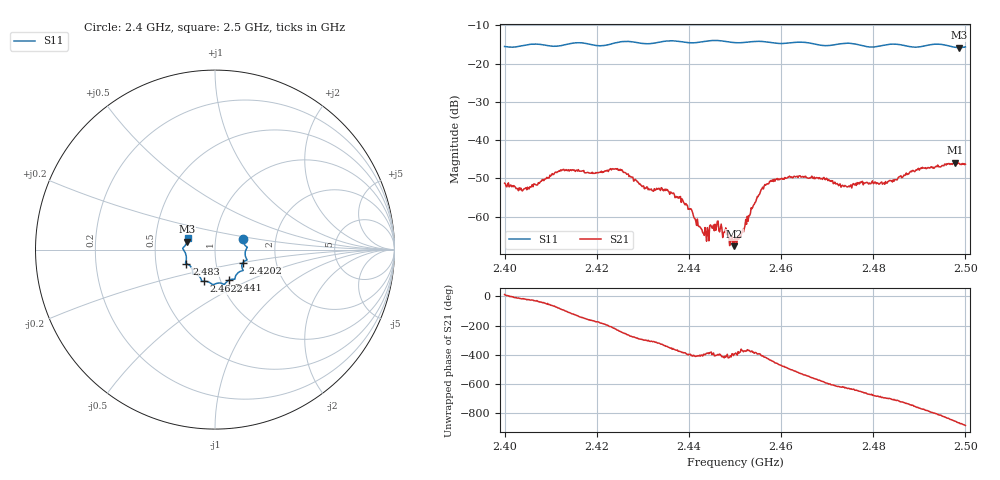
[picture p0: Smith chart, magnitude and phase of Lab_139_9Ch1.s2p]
# Hz S RI R 50
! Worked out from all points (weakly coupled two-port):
!   601 points, 2.4 GHz to 2.5 GHz, reference 50 ohm
!   highest |S21| = -45.91 dB at 2.4978 GHz (marker M1); lowest = -67.7 dB at 2.4498 GHz (marker M2)
!   lowest |S11| = -15.8 dB at 2.4987 GHz (marker M3), VSWR 1.39, Z = 36.4 + j3.28 ohm
!   |S11| at or under -10 dB: start of sweep to end of sweep
!   S12 and S22 are empty: the file has one direction only
!   S11 on the Smith chart (normalised r, x): 2.4 GHz: 1.36, +0.17; 2.4202 GHz: 1.35, -0.20; 2.441 GHz: 1.09, -0.39; 2.4622 GHz: 0.83, -0.30; 2.483 GHz: 0.72, -0.12; 2.5 GHz: 0.73, +0.09
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2.4e9  0.1564 0.0601  0.00269 0.000572  0 0  0 0
2.404333e9  0.1732 0.0181  0.00222 -0.000713  0 0  0 0
2.412333e9  0.169 -0.0342  9.19e-05 -0.004  0 0  0 0
2.416667e9  0.1776 -0.0585  -0.00321 -0.00225  0 0  0 0
2.420167e9  0.1561 -0.072  -0.00376 -0.000362  0 0  0 0
2.425e9  0.1557 -0.113  -0.00206 0.00346  0 0  0 0
2.433333e9  0.1129 -0.1522  0.00176 0.00149  0 0  0 0
2.438167e9  0.1024 -0.1648  0.00175 -0.000551  0 0  0 0
2.441e9  0.0768 -0.1707  0.000752 -0.000685  0 0  0 0
2.443333e9  0.0596 -0.1854  0.000463 -0.000334  0 0  0 0
2.4465e9  0.0504 -0.1934  0.000495 -0.000433  0 0  0 0
2.449833e9  0.0285 -0.1862  0.000344 -0.000227  0 0  0 0
2.45e9  0.0267 -0.1861  0.00046 -0.000287  0 0  0 0
2.456167e9  -0.0144 -0.1936  0.00145 -0.00179  0 0  0 0
2.462167e9  -0.0631 -0.1763  -0.00254 -0.00204  0 0  0 0
2.466667e9  -0.0765 -0.1668  -0.00326 0.000939  0 0  0 0
2.474e9  -0.1246 -0.1364  -0.000324 0.0025  0 0  0 0
2.483e9  -0.159 -0.078  0.00252 0.00108  0 0  0 0
2.483333e9  -0.1607 -0.0774  0.00269 0.00106  0 0  0 0
2.497833e9  -0.1601 0.0332  -0.00347 -0.00369  0 0  0 0
2.498667e9  -0.1558 0.0439  -0.004 -0.00294  0 0  0 0
2.5e9  -0.153 0.0624  -0.00462 -0.00153  0 0  0 0
